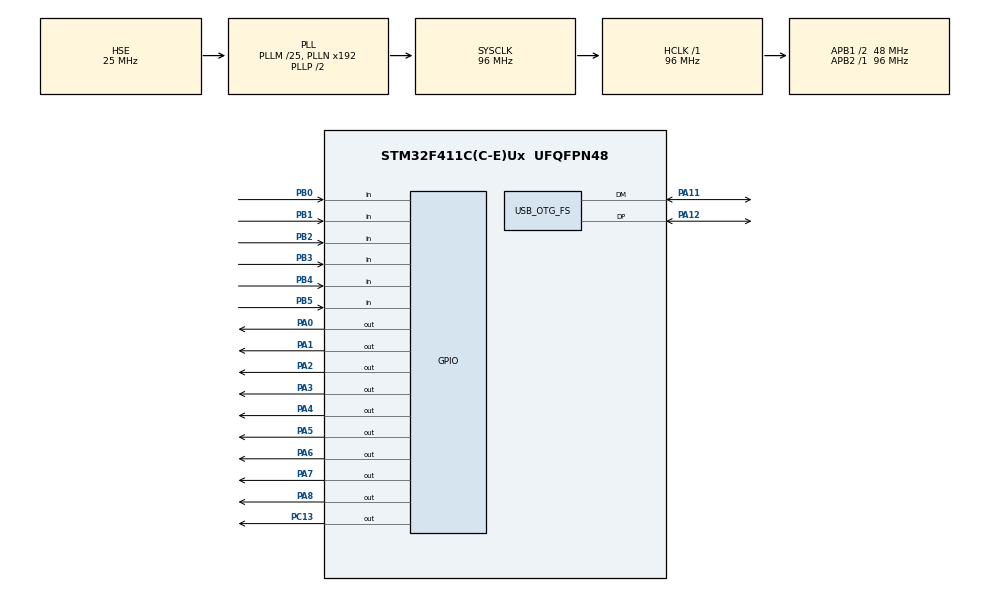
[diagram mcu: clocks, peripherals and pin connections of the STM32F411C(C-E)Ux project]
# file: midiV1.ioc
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Mcu.Family=STM32F4
Mcu.Name=STM32F411C(C-E)Ux
Mcu.Package=UFQFPN48
NVIC.OTG_FS_IRQn=true\:0\:0\:false\:false\:true\:false\:true\:true
NVIC.PriorityGroup=NVIC_PRIORITYGROUP_4
NVIC.TIM2_IRQn=true\:0\:0\:false\:false\:true\:true\:true\:true
NVIC.TIM3_IRQn=true\:0\:0\:false\:false\:true\:true\:true\:true
PA0-WKUP.GPIO_ModeDefaultOutputPP=GPIO_MODE_OUTPUT_PP
PA0-WKUP.GPIO_PuPd=GPIO_NOPULL
PA0-WKUP.Signal=GPIO_Output
PA1.GPIO_PuPd=GPIO_NOPULL
PA1.Signal=GPIO_Output
PA11.Mode=Device_Only
PA11.Signal=USB_OTG_FS_DM
PA12.Mode=Device_Only
PA12.Signal=USB_OTG_FS_DP
PA13.Mode=Serial_Wire
PA13.Signal=SYS_JTMS-SWDIO
PA14.Mode=Serial_Wire
PA14.Signal=SYS_JTCK-SWCLK
PA2.GPIO_PuPd=GPIO_NOPULL
PA2.Signal=GPIO_Output
PA3.GPIO_PuPd=GPIO_NOPULL
PA3.Signal=GPIO_Output
PA4.GPIO_PuPd=GPIO_NOPULL
PA4.Signal=GPIO_Output
PA5.GPIO_PuPd=GPIO_NOPULL
PA5.Signal=GPIO_Output
PA6.GPIO_PuPd=GPIO_NOPULL
PA6.Signal=GPIO_Output
PA7.GPIO_ModeDefaultOutputPP=GPIO_MODE_OUTPUT_PP
PA7.GPIO_PuPd=GPIO_NOPULL
PA7.Signal=GPIO_Output
PA8.Signal=GPIO_Output
PB0.GPIO_PuPd=GPIO_PULLDOWN
PB0.Signal=GPIO_Input
PB1.GPIO_PuPd=GPIO_PULLDOWN
PB1.Signal=GPIO_Input
PB2.GPIO_PuPd=GPIO_PULLDOWN
PB2.Signal=GPIO_Input
PB3.GPIO_PuPd=GPIO_PULLDOWN
PB3.Signal=GPIO_Input
PB4.GPIO_PuPd=GPIO_PULLDOWN
PB4.Signal=GPIO_Input
PB5.GPIO_PuPd=GPIO_PULLDOWN
PB5.Signal=GPIO_Input
PC13-ANTI_TAMP.Signal=GPIO_Output
PH0\ -\ OSC_IN.Mode=HSE-External-Oscillator
PH0\ -\ OSC_IN.Signal=RCC_OSC_IN
PH1\ -\ OSC_OUT.Mode=HSE-External-Oscillator
PH1\ -\ OSC_OUT.Signal=RCC_OSC_OUT
ProjectManager.HeapSize=0x200
ProjectManager.StackSize=0x400
ProjectManager.TargetToolchain=CMake
RCC.48MHZClocksFreq_Value=48000000
RCC.AHBFreq_Value=96000000
RCC.APB1CLKDivider=RCC_HCLK_DIV2
RCC.APB1Freq_Value=48000000
RCC.APB1TimFreq_Value=96000000
RCC.APB2Freq_Value=96000000
RCC.APB2TimFreq_Value=96000000
RCC.CortexFreq_Value=96000000
RCC.HCLKFreq_Value=96000000
RCC.HSE_VALUE=25000000
RCC.HSI_VALUE=16000000
RCC.LSE_VALUE=32768
RCC.PLLM=25
RCC.SYSCLKFreq_VALUE=96000000
RCC.SYSCLKSource=RCC_SYSCLKSOURCE_PLLCLK
RCC.VCOOutputFreq_Value=192000000
TIM2.Period=999
TIM2.Prescaler=95
TIM2.TIM_MasterOutputTrigger=TIM_TRGO_RESET
TIM3.Period=9999
TIM3.Prescaler=959
USB_DEVICE.CLASS_NAME_FS=CDC
USB_DEVICE.VirtualMode=Cdc
USB_DEVICE.VirtualModeFS=Cdc_FS
USB_OTG_FS.VirtualMode=Device_Only
VP_TIM2_VS_ClockSourceINT.Mode=Internal
VP_TIM3_VS_ClockSourceINT.Mode=Internal
VP_USB_DEVICE_VS_USB_DEVICE_CDC_FS.Mode=CDC_FS
board=custom

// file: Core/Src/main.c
/* USER CODE BEGIN Header */
/**
 ******************************************************************************
 * @file           : main.c
 * @brief          : Main program body
 ******************************************************************************
 * @attention
 *
 * Copyright (c) 2026 STMicroelectronics.
 * All rights reserved.
 *
 * This software is licensed under terms that can be found in the LICENSE file
 * in the root directory of this software component.
 * If no LICENSE file comes with this software, it is provided AS-IS.
 *
 ******************************************************************************
 */
/* USER CODE END Header */
#include "main.h"
#include "cmsis_gcc.h"
#include "usb_device.h"
#include "usbd_core.h"

/* USER CODE BEGIN Includes */
#include "usb_device.h"
#include <string.h>

/* USER CODE END Includes */

TIM_HandleTypeDef htim2;
TIM_HandleTypeDef htim3;

/* USER CODE BEGIN PV */
volatile uint8_t scanFlag = 0;
volatile uint8_t ledFlag = 0;

uint8_t keyTable[8][6] = {{53, 61, 69, 77, 85, 93}, {54, 62, 70, 78, 86, 94},
                          {55, 63, 71, 79, 87, 95}, {56, 64, 72, 80, 88, 96},
                          {57, 65, 73, 81, 89, 97}, {58, 66, 74, 82, 90, 98},
                          {59, 67, 75, 83, 91, 99}, {60, 68, 76, 84, 92, 100}};
uint8_t prevState[8][6] = {0};
uint8_t usbPacket[4] = {0};
uint8_t midiQueue[32][4] = {0}; /* for circular buffer */
volatile uint8_t qStart = 0;
volatile uint8_t qEnd = 0;
volatile uint8_t midiTxBusy = 0; /* used inside the usb cdc data in function in
                                    usbd_cdc.c, extern this there */
extern USBD_HandleTypeDef hUsbDeviceFS;
/* USER CODE END PV */

void SystemClock_Config(void);
static void MX_GPIO_Init(void);
static void MX_TIM2_Init(void);
static void MX_TIM3_Init(void);

int main(void) {

  /* USER CODE BEGIN 1 */
  SystemCoreClockUpdate();
  /* USER CODE END 1 */

  /* MCU Configuration--------------------------------------------------------*/

  /* Reset of all peripherals, Initializes the Flash interface and the Systick.
   */
  HAL_Init();

  /* Configure the system clock */
  SystemClock_Config();

  /* Initialize all configured peripherals */
  MX_GPIO_Init();
  MX_TIM2_Init();
  MX_USB_DEVICE_Init();
  MX_TIM3_Init();
  /* USER CODE BEGIN 2 */
  HAL_TIM_Base_Start_IT(&htim2);
  HAL_TIM_Base_Start_IT(&htim3);
  /* USER CODE END 2 */

  /* Infinite loop */
  /* USER CODE BEGIN WHILE */
  while (1) {
    /* on board blinky for sanity check */
    if (ledFlag == 1) {
      ledFlag = 0;
      HAL_GPIO_TogglePin(GPIOC, GPIO_PIN_13);
    }

    /* matrix scan + buffer filling */
    if (scanFlag == 1) {
      scanFlag = 0;
      for (uint8_t i = 0; i < 8; i++) {
        HAL_GPIO_WritePin(GPIOA, 0x00FF, 0);
        HAL_GPIO_WritePin(GPIOA, 1 << i, 1);
        /* Give time, if you skip this loop you will get ghost notes */
        for (uint8_t d = 0; d < 75; d++) {
          __NOP();
        }
        for (uint8_t j = 0; j < 6; j++) {
          uint8_t pressed = HAL_GPIO_ReadPin(GPIOB, (1 << j));

          if (pressed != prevState[i][j]) {
            prevState[i][j] = pressed;

            if (pressed) {
              uint8_t report[4] = {0x09, 0x90, keyTable[i][j], 127};
              memcpy(midiQueue[qEnd], report, 4);
              qEnd = (qEnd + 1) % 32;
            } else {
              uint8_t report[4] = {0x08, 0x80, keyTable[i][j], 00};
              memcpy(midiQueue[qEnd], report, 4);
              qEnd = (qEnd + 1) % 32;
            }
          }
        }
      }
    }
    /* flushing buffer with check (ghost note without the txxflag check btw)
     * (used LL cause cdc transmit wont work cause we changed the descriptors)
     */
    if (qStart != qEnd && midiTxBusy == 0) {
      midiTxBusy = 1;
      USBD_LL_Transmit(&hUsbDeviceFS, 0x81, midiQueue[qStart], 4);
      qStart = (qStart + 1) % 32;
    }
  }
  /* USER CODE END WHILE */

}

void SystemClock_Config(void) {
  RCC_OscInitTypeDef RCC_OscInitStruct = {0};
  RCC_ClkInitTypeDef RCC_ClkInitStruct = {0};

  /** Configure the main internal regulator output voltage
   */
  __HAL_RCC_PWR_CLK_ENABLE();
  __HAL_PWR_VOLTAGESCALING_CONFIG(PWR_REGULATOR_VOLTAGE_SCALE1);

  /** Initializes the RCC Oscillators according to the specified parameters
   * in the RCC_OscInitTypeDef structure.
   */
  RCC_OscInitStruct.OscillatorType = RCC_OSCILLATORTYPE_HSE;
  RCC_OscInitStruct.HSEState = RCC_HSE_ON;
  RCC_OscInitStruct.PLL.PLLState = RCC_PLL_ON;
  RCC_OscInitStruct.PLL.PLLSource = RCC_PLLSOURCE_HSE;
  RCC_OscInitStruct.PLL.PLLM = 25;
  RCC_OscInitStruct.PLL.PLLN = 192;
  RCC_OscInitStruct.PLL.PLLP = RCC_PLLP_DIV2;
  RCC_OscInitStruct.PLL.PLLQ = 4;
  if (HAL_RCC_OscConfig(&RCC_OscInitStruct) != HAL_OK) {
    Error_Handler();
  }

  /** Initializes the CPU, AHB and APB buses clocks
   */
  RCC_ClkInitStruct.ClockType = RCC_CLOCKTYPE_HCLK | RCC_CLOCKTYPE_SYSCLK |
                                RCC_CLOCKTYPE_PCLK1 | RCC_CLOCKTYPE_PCLK2;
  RCC_ClkInitStruct.SYSCLKSource = RCC_SYSCLKSOURCE_PLLCLK;
  RCC_ClkInitStruct.AHBCLKDivider = RCC_SYSCLK_DIV1;
  RCC_ClkInitStruct.APB1CLKDivider = RCC_HCLK_DIV2;
  RCC_ClkInitStruct.APB2CLKDivider = RCC_HCLK_DIV1;

  if (HAL_RCC_ClockConfig(&RCC_ClkInitStruct, FLASH_LATENCY_3) != HAL_OK) {
    Error_Handler();
  }
}

static void MX_TIM2_Init(void) {

  TIM_ClockConfigTypeDef sClockSourceConfig = {0};
  TIM_MasterConfigTypeDef sMasterConfig = {0};

  htim2.Instance = TIM2;
  htim2.Init.Prescaler = 95;
  htim2.Init.CounterMode = TIM_COUNTERMODE_UP;
  htim2.Init.Period = 1999;
  htim2.Init.ClockDivision = TIM_CLOCKDIVISION_DIV1;
  htim2.Init.AutoReloadPreload = TIM_AUTORELOAD_PRELOAD_DISABLE;
  if (HAL_TIM_Base_Init(&htim2) != HAL_OK) {
    Error_Handler();
  }
  sClockSourceConfig.ClockSource = TIM_CLOCKSOURCE_INTERNAL;
  if (HAL_TIM_ConfigClockSource(&htim2, &sClockSourceConfig) != HAL_OK) {
    Error_Handler();
  }
  sMasterConfig.MasterOutputTrigger = TIM_TRGO_RESET;
  sMasterConfig.MasterSlaveMode = TIM_MASTERSLAVEMODE_DISABLE;
  if (HAL_TIMEx_MasterConfigSynchronization(&htim2, &sMasterConfig) != HAL_OK) {
    Error_Handler();
  }
}

static void MX_TIM3_Init(void) {

  TIM_ClockConfigTypeDef sClockSourceConfig = {0};
  TIM_MasterConfigTypeDef sMasterConfig = {0};

  htim3.Instance = TIM3;
  htim3.Init.Prescaler = 959;
  htim3.Init.CounterMode = TIM_COUNTERMODE_UP;
  htim3.Init.Period = 9999;
  htim3.Init.ClockDivision = TIM_CLOCKDIVISION_DIV1;
  htim3.Init.AutoReloadPreload = TIM_AUTORELOAD_PRELOAD_DISABLE;
  if (HAL_TIM_Base_Init(&htim3) != HAL_OK) {
    Error_Handler();
  }
  sClockSourceConfig.ClockSource = TIM_CLOCKSOURCE_INTERNAL;
  if (HAL_TIM_ConfigClockSource(&htim3, &sClockSourceConfig) != HAL_OK) {
    Error_Handler();
  }
  sMasterConfig.MasterOutputTrigger = TIM_TRGO_RESET;
  sMasterConfig.MasterSlaveMode = TIM_MASTERSLAVEMODE_DISABLE;
  if (HAL_TIMEx_MasterConfigSynchronization(&htim3, &sMasterConfig) != HAL_OK) {
    Error_Handler();
  }
}

static void MX_GPIO_Init(void) {
  GPIO_InitTypeDef GPIO_InitStruct = {0};

  /* GPIO Ports Clock Enable */
  __HAL_RCC_GPIOC_CLK_ENABLE();
  __HAL_RCC_GPIOH_CLK_ENABLE();
  __HAL_RCC_GPIOA_CLK_ENABLE();
  __HAL_RCC_GPIOB_CLK_ENABLE();

  /*Configure GPIO pin Output Level */
  HAL_GPIO_WritePin(GPIOC, GPIO_PIN_13, GPIO_PIN_RESET);

  /*Configure GPIO pin Output Level */
  HAL_GPIO_WritePin(GPIOA,
                    GPIO_PIN_0 | GPIO_PIN_1 | GPIO_PIN_2 | GPIO_PIN_3 |
                        GPIO_PIN_4 | GPIO_PIN_5 | GPIO_PIN_6 | GPIO_PIN_7 |
                        GPIO_PIN_8,
                    GPIO_PIN_RESET);

  /*Configure GPIO pin : PC13 */
  GPIO_InitStruct.Pin = GPIO_PIN_13;
  GPIO_InitStruct.Mode = GPIO_MODE_OUTPUT_PP;
  GPIO_InitStruct.Pull = GPIO_NOPULL;
  GPIO_InitStruct.Speed = GPIO_SPEED_FREQ_LOW;
  HAL_GPIO_Init(GPIOC, &GPIO_InitStruct);

  /*Configure GPIO pins : PA0 PA1 PA2 PA3
                           PA4 PA5 PA6 PA7
                           PA8 */
  GPIO_InitStruct.Pin = GPIO_PIN_0 | GPIO_PIN_1 | GPIO_PIN_2 | GPIO_PIN_3 |
                        GPIO_PIN_4 | GPIO_PIN_5 | GPIO_PIN_6 | GPIO_PIN_7 |
                        GPIO_PIN_8;
  GPIO_InitStruct.Mode = GPIO_MODE_OUTPUT_PP;
  GPIO_InitStruct.Pull = GPIO_NOPULL;
  GPIO_InitStruct.Speed = GPIO_SPEED_FREQ_LOW;
  HAL_GPIO_Init(GPIOA, &GPIO_InitStruct);

  /*Configure GPIO pins : PB0 PB1 PB2 PB3
                           PB4 PB5 */
  GPIO_InitStruct.Pin = GPIO_PIN_0 | GPIO_PIN_1 | GPIO_PIN_2 | GPIO_PIN_3 |
                        GPIO_PIN_4 | GPIO_PIN_5;
  GPIO_InitStruct.Mode = GPIO_MODE_INPUT;
  GPIO_InitStruct.Pull = GPIO_PULLDOWN;
  HAL_GPIO_Init(GPIOB, &GPIO_InitStruct);

}

/* USER CODE BEGIN 4 */
void HAL_TIM_PeriodElapsedCallback(TIM_HandleTypeDef *htim) {
  if (htim->Instance == TIM2) {
    scanFlag = 1;
  }
  if (htim->Instance == TIM3) {
    ledFlag = 1;
  }
}

/* USER CODE END 4 */

void Error_Handler(void) {
  /* USER CODE BEGIN Error_Handler_Debug */
  /* User can add his own implementation to report the HAL error return state
   */
  __disable_irq();
  while (1) {
  }
  /* USER CODE END Error_Handler_Debug */
}
#ifdef USE_FULL_ASSERT
/**
 * @brief  Reports the name of the source file and the source line number
 *         where the assert_param error has occurred.
 * @param  file: pointer to the source file name
 * @param  line: assert_param error line source number
 * @retval None
 */
void assert_failed(uint8_t *file, uint32_t line) {
  /* USER CODE BEGIN 6 */
  /* User can add his own implementation to report the file name and line
     number, ex: printf("Wrong parameters value: file %s on line %d\r\n",
     file, line) */
  /* USER CODE END 6 */
}
#endif /* USE_FULL_ASSERT */
